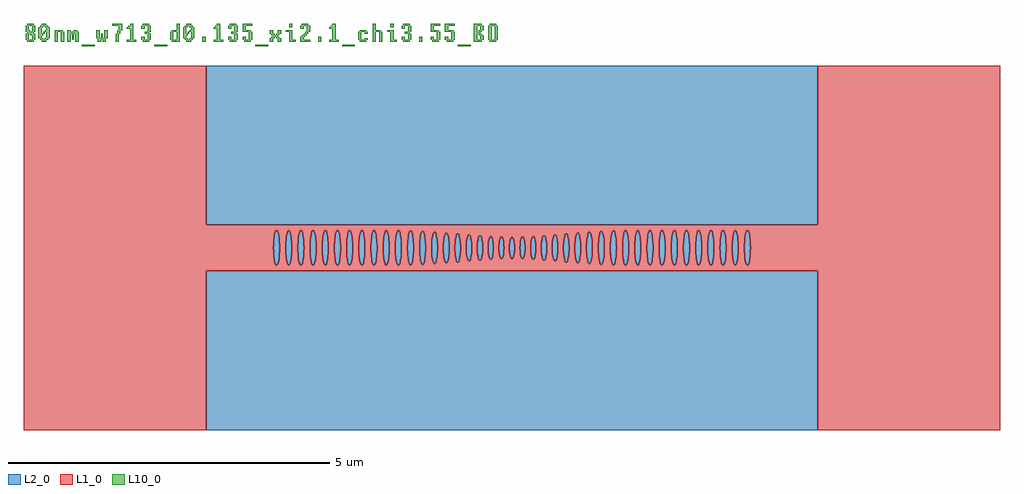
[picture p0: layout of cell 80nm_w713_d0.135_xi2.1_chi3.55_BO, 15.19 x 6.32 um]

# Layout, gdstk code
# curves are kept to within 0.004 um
import gdstk
lib = gdstk.Library(unit=1e-6, precision=1e-09)
def R(c, l, rs):  # rectangles x0, y0, x1, y1
    for r in rs: c.add(gdstk.rectangle(r[:2], r[2:], *l))
def P(c, l, *ps):  # polygons
    for p in ps: c.add(gdstk.Polygon(p, *l))
L1_0 = (1, 0)
L2_0 = (2, 0)
L10_0 = (10, 0)

c_80nm_w713_d0_135_xi2_1_c = lib.new_cell('80nm_w713_d0.135_xi2.1_chi3.55_BO')
P(c_80nm_w713_d0_135_xi2_1_c, L1_0, [(-4.758,-2.835),(-4.758,-0.357),(-2.863,-0.357),(-2.863,-0.13),(-2.886,-0.25),(-2.901,-0.272),(-2.917,-0.264),(-2.931,-0.228),(-2.943,-0.168),(-2.953,0),(-2.943,0.168),(-2.931,0.228),(-2.917,0.264),(-2.901,0.272),(-2.886,0.25),(-2.863,0.13),(-2.863,0.357),(-4.758,0.357),(-4.758,2.835),(-7.593,2.835),(-7.593,0),(-3.711,0),(-3.696,0.201),(-3.675,0.264),(-3.659,0.272),(-3.644,0.25),(-3.625,0.168),(-3.616,-0.045),(-3.521,-0.045),(-3.516,0.13),(-3.5,0.228),(-3.485,0.264),(-3.47,0.272),(-3.447,0.228),(-3.428,0.089),(-3.426,0),(-3.332,0),(-3.326,0.13),(-3.316,0.201),(-3.296,0.264),(-3.28,0.272),(-3.265,0.25),(-3.246,0.168),(-3.237,-0.045),(-3.142,-0.045),(-3.137,0.13),(-3.121,0.228),(-3.098,0.272),(-3.091,0.272),(-3.075,0.25),(-3.052,0.13),(-3.047,-0.045),(-3.062,-0.201),(-3.075,-0.25),(-3.091,-0.272),(-3.106,-0.264),(-3.121,-0.228),(-3.137,-0.13),(-3.142,-0.045),(-3.237,-0.045),(-3.246,-0.168),(-3.258,-0.228),(-3.28,-0.272),(-3.296,-0.264),(-3.31,-0.228),(-3.322,-0.168),(-3.332,0),(-3.426,0),(-3.428,-0.089),(-3.441,-0.201),(-3.454,-0.25),(-3.47,-0.272),(-3.485,-0.264),(-3.5,-0.228),(-3.516,-0.13),(-3.521,-0.045),(-3.616,-0.045),(-3.625,-0.168),(-3.637,-0.228),(-3.659,-0.272),(-3.675,-0.264),(-3.689,-0.228),(-3.701,-0.168),(-3.711,0),(-7.593,0),(-7.593,-2.835)],
  [(-2.355,0.25),(-2.34,0.272),(-2.332,0.272),(-2.31,0.228),(-2.294,0.13),(-2.289,-0.045),(-2.194,-0.045),(-2.192,0.089),(-2.179,0.201),(-2.158,0.264),(-2.151,0.272),(-2.135,0.264),(-2.114,0.201),(-2.101,0.089),(-2.101,-0.089),(-2.114,-0.201),(-2.127,-0.25),(-2.143,-0.272),(-2.151,-0.272),(-2.166,-0.25),(-2.179,-0.201),(-2.194,-0.045),(-2.289,-0.045),(-2.298,-0.168),(-2.31,-0.228),(-2.324,-0.264),(-2.332,-0.272),(-2.348,-0.264),(-2.369,-0.201),(-2.369,-0.357),(-1.919,-0.357),(-1.919,-0.168),(-1.931,-0.228),(-1.945,-0.264),(-1.953,-0.272),(-1.969,-0.264),(-1.983,-0.228),(-1.995,-0.168),(-2.005,0),(-1.995,0.168),(-1.983,0.228),(-1.969,0.264),(-1.961,0.272),(-1.945,0.264),(-1.931,0.228),(-1.919,0.168),(-1.919,0.357),(-2.369,0.357),(-2.369,0.201)],
  [(-1.067,0.063),(-1.048,0.197),(-1.041,0.217),(-1.025,0.236),(-1.009,0.225),(-1.001,0.208),(-0.983,0.121),(-0.983,0.357),(-1.919,0.357),(-1.919,0.168),(-1.91,-0.045),(-1.815,-0.045),(-1.813,0.089),(-1.805,0.168),(-1.794,0.228),(-1.772,0.272),(-1.764,0.272),(-1.748,0.25),(-1.735,0.201),(-1.722,0.089),(-1.72,-0.023),(-1.626,-0.023),(-1.622,0.111),(-1.613,0.187),(-1.6,0.241),(-1.584,0.268),(-1.576,0.27),(-1.553,0.23),(-1.541,0.17),(-1.531,-0.022),(-1.438,-0.022),(-1.434,0.108),(-1.425,0.181),(-1.412,0.234),(-1.396,0.26),(-1.388,0.262),(-1.373,0.243),(-1.359,0.197),(-1.349,0.128),(-1.343,0),(-1.252,0),(-1.241,0.161),(-1.221,0.235),(-1.205,0.25),(-1.189,0.235),(-1.169,0.161),(-1.158,0),(-1.169,-0.161),(-1.189,-0.235),(-1.205,-0.25),(-1.221,-0.235),(-1.241,-0.161),(-1.252,0),(-1.343,0),(-1.349,-0.128),(-1.359,-0.197),(-1.373,-0.243),(-1.388,-0.262),(-1.404,-0.25),(-1.419,-0.211),(-1.434,-0.108),(-1.438,-0.022),(-1.531,-0.022),(-1.541,-0.17),(-1.553,-0.23),(-1.576,-0.27),(-1.592,-0.258),(-1.607,-0.217),(-1.622,-0.111),(-1.626,-0.023),(-1.72,-0.023),(-1.725,-0.13),(-1.735,-0.201),(-1.748,-0.25),(-1.764,-0.272),(-1.779,-0.264),(-1.794,-0.228),(-1.81,-0.13),(-1.815,-0.045),(-1.91,-0.045),(-1.919,-0.168),(-1.919,-0.357),(-0.983,-0.357),(-0.983,-0.121),(-0.994,-0.185),(-1.009,-0.225),(-1.025,-0.236),(-1.041,-0.217),(-1.064,-0.103)],
  [(7.593,2.835),(4.758,2.835),(4.758,0.357),(2.86,0.357),(2.86,0.089),(2.879,0.228),(2.893,0.264),(2.909,0.272),(2.924,0.25),(2.943,0.168),(2.953,0),(3.047,0),(3.052,0.13),(3.062,0.201),(3.075,0.25),(3.091,0.272),(3.098,0.272),(3.114,0.25),(3.127,0.201),(3.137,0.13),(3.142,0),(3.236,0),(3.242,0.13),(3.252,0.201),(3.272,0.264),(3.288,0.272),(3.303,0.25),(3.322,0.168),(3.332,0),(3.426,0),(3.428,0.089),(3.441,0.201),(3.454,0.25),(3.47,0.272),(3.478,0.272),(3.493,0.25),(3.506,0.201),(3.516,0.13),(3.521,0),(3.615,0),(3.621,0.13),(3.631,0.201),(3.651,0.264),(3.667,0.272),(3.682,0.25),(3.696,0.201),(3.711,0),(7.593,0)],
  [(0.037,-0.069),(0.027,-0.126),(0.012,-0.161),(0.012,-0.357),(0.991,-0.357),(0.991,-0.171),(0.977,-0.021),(0.981,0.103),(0.991,0.171),(0.991,0.357),(0.012,0.357),(0.012,0.161),(0.032,0.099),(0.04,0),(0.124,0),(0.127,0.07),(0.137,0.128),(0.152,0.163),(0.169,0.171),(0.185,0.149),(0.197,0.101),(0.205,-0.018),(0.289,-0.018),(0.29,0.054),(0.299,0.117),(0.312,0.161),(0.328,0.18),(0.336,0.178),(0.352,0.153),(0.364,0.103),(0.37,-0.037),(0.456,-0.037),(0.456,0.037),(0.468,0.135),(0.482,0.177),(0.498,0.192),(0.514,0.177),(0.528,0.135),(0.54,0.037),(0.54,-0.02),(0.626,-0.02),(0.635,0.127),(0.647,0.178),(0.663,0.204),(0.671,0.205),(0.687,0.187),(0.701,0.142),(0.713,0),(0.799,0),(0.802,0.08),(0.817,0.176),(0.832,0.213),(0.848,0.22),(0.864,0.198),(0.877,0.149),(0.889,0),(0.877,-0.149),(0.864,-0.198),(0.848,-0.22),(0.832,-0.213),(0.817,-0.176),(0.802,-0.08),(0.799,0),(0.713,0),(0.701,-0.142),(0.687,-0.187),(0.671,-0.205),(0.655,-0.194),(0.641,-0.155),(0.63,-0.094),(0.626,-0.02),(0.54,-0.02),(0.528,-0.135),(0.514,-0.177),(0.498,-0.192),(0.49,-0.188),(0.474,-0.159),(0.456,-0.037),(0.37,-0.037),(0.364,-0.103),(0.352,-0.153),(0.344,-0.169),(0.328,-0.18),(0.305,-0.142),(0.289,-0.018),(0.205,-0.018),(0.191,-0.128),(0.185,-0.149),(0.169,-0.171),(0.152,-0.163),(0.137,-0.128),(0.127,-0.07),(0.124,0),(0.04,0)],
  [(1.912,0.089),(1.919,0.168),(1.919,0.357),(0.991,0.357),(0.991,0.171),(1.013,0.23),(1.021,0.236),(1.037,0.225),(1.051,0.185),(1.062,0.121),(1.069,0),(1.158,0),(1.169,0.161),(1.189,0.235),(1.205,0.25),(1.221,0.235),(1.241,0.161),(1.251,-0.022),(1.343,-0.022),(1.347,0.108),(1.356,0.181),(1.369,0.234),(1.384,0.26),(1.392,0.262),(1.408,0.243),(1.422,0.197),(1.435,0.087),(1.437,-0.023),(1.531,-0.023),(1.532,0.068),(1.544,0.187),(1.564,0.258),(1.58,0.27),(1.596,0.25),(1.615,0.17),(1.623,0.09),(1.625,-0.045),(1.72,-0.045),(1.722,0.089),(1.73,0.168),(1.748,0.25),(1.764,0.272),(1.779,0.264),(1.794,0.228),(1.81,0.13),(1.815,0.045),(1.813,-0.089),(1.805,-0.168),(1.794,-0.228),(1.772,-0.272),(1.756,-0.264),(1.741,-0.228),(1.725,-0.13),(1.72,-0.045),(1.625,-0.045),(1.61,-0.203),(1.596,-0.25),(1.58,-0.27),(1.564,-0.258),(1.544,-0.187),(1.531,-0.023),(1.437,-0.023),(1.432,-0.128),(1.422,-0.197),(1.408,-0.243),(1.392,-0.262),(1.377,-0.25),(1.362,-0.211),(1.347,-0.108),(1.343,-0.022),(1.251,-0.022),(1.249,-0.086),(1.235,-0.192),(1.221,-0.235),(1.205,-0.25),(1.189,-0.235),(1.169,-0.161),(1.158,0),(1.069,0),(1.062,-0.121),(1.051,-0.185),(1.037,-0.225),(1.021,-0.236),(1.013,-0.23),(0.991,-0.171),(0.991,-0.357),(1.919,-0.357),(1.919,-0.168),(1.909,0)],
  [(2.86,0.089),(2.86,0.357),(1.919,0.357),(1.919,0.168),(1.931,0.228),(1.945,0.264),(1.953,0.272),(1.969,0.264),(1.983,0.228),(1.995,0.168),(2.005,0),(2.099,0),(2.101,0.089),(2.114,0.201),(2.127,0.25),(2.143,0.272),(2.151,0.272),(2.166,0.25),(2.179,0.201),(2.189,0.13),(2.194,0),(2.288,0),(2.298,0.168),(2.317,0.25),(2.332,0.272),(2.348,0.264),(2.369,0.201),(2.384,0),(2.478,0),(2.493,0.201),(2.507,0.25),(2.522,0.272),(2.53,0.272),(2.545,0.25),(2.564,0.168),(2.573,-0.045),(2.668,-0.045),(2.67,0.089),(2.678,0.168),(2.689,0.228),(2.711,0.272),(2.727,0.264),(2.742,0.228),(2.753,0.168),(2.763,0.045),(2.761,-0.089),(2.753,-0.168),(2.735,-0.25),(2.719,-0.272),(2.704,-0.264),(2.689,-0.228),(2.673,-0.13),(2.668,-0.045),(2.573,-0.045),(2.564,-0.168),(2.552,-0.228),(2.53,-0.272),(2.514,-0.264),(2.5,-0.228),(2.488,-0.168),(2.478,0),(2.384,0),(2.369,-0.201),(2.355,-0.25),(2.34,-0.272),(2.324,-0.264),(2.304,-0.201),(2.294,-0.13),(2.288,0),(2.194,0),(2.189,-0.13),(2.179,-0.201),(2.166,-0.25),(2.151,-0.272),(2.143,-0.272),(2.127,-0.25),(2.114,-0.201),(2.101,-0.089),(2.099,0),(2.005,0),(1.995,-0.168),(1.983,-0.228),(1.969,-0.264),(1.961,-0.272),(1.945,-0.264),(1.931,-0.228),(1.919,-0.168),(1.919,-0.357),(2.86,-0.357)],
  [(-2.381,0.089),(-2.369,0.201),(-2.369,0.357),(-2.863,0.357),(-2.858,-0.045),(-2.763,-0.045),(-2.761,0.089),(-2.753,0.168),(-2.735,0.25),(-2.719,0.272),(-2.711,0.272),(-2.696,0.25),(-2.683,0.201),(-2.673,0.13),(-2.668,0),(-2.574,0),(-2.568,0.13),(-2.552,0.228),(-2.53,0.272),(-2.514,0.264),(-2.5,0.228),(-2.488,0.168),(-2.478,0),(-2.493,-0.201),(-2.507,-0.25),(-2.522,-0.272),(-2.538,-0.264),(-2.558,-0.201),(-2.568,-0.13),(-2.574,0),(-2.668,0),(-2.673,-0.13),(-2.683,-0.201),(-2.696,-0.25),(-2.711,-0.272),(-2.727,-0.264),(-2.742,-0.228),(-2.753,-0.168),(-2.763,-0.045),(-2.858,-0.045),(-2.863,-0.357),(-2.369,-0.357),(-2.369,-0.201),(-2.383,-0.045)],
  [(2.947,-0.13),(2.924,-0.25),(2.909,-0.272),(2.901,-0.272),(2.879,-0.228),(2.86,-0.089),(2.86,-0.357),(4.758,-0.357),(4.758,-2.835),(7.593,-2.835),(7.593,0),(3.711,0),(3.696,-0.201),(3.682,-0.25),(3.667,-0.272),(3.651,-0.264),(3.631,-0.201),(3.621,-0.13),(3.615,0),(3.521,0),(3.516,-0.13),(3.506,-0.201),(3.493,-0.25),(3.478,-0.272),(3.47,-0.272),(3.454,-0.25),(3.441,-0.201),(3.428,-0.089),(3.426,0),(3.332,0),(3.322,-0.168),(3.303,-0.25),(3.288,-0.272),(3.272,-0.264),(3.252,-0.201),(3.242,-0.13),(3.236,0),(3.142,0),(3.137,-0.13),(3.127,-0.201),(3.114,-0.25),(3.098,-0.272),(3.091,-0.272),(3.075,-0.25),(3.062,-0.201),(3.052,-0.13),(3.047,0),(2.953,0)],
  [(-0.98,-0.083),(-0.983,-0.357),(-0.49,-0.357),(-0.49,-0.188),(-0.506,-0.188),(-0.522,-0.159),(-0.54,-0.037),(-0.54,0.037),(-0.528,0.135),(-0.514,0.177),(-0.498,0.192),(-0.49,0.188),(-0.49,0.357),(-0.983,0.357),(-0.977,0),(-0.889,0),(-0.877,0.149),(-0.864,0.198),(-0.848,0.22),(-0.832,0.213),(-0.824,0.198),(-0.811,0.149),(-0.802,0.08),(-0.799,-0.02),(-0.713,-0.02),(-0.704,0.127),(-0.691,0.178),(-0.675,0.204),(-0.659,0.2),(-0.644,0.168),(-0.632,0.111),(-0.626,0.039),(-0.632,-0.111),(-0.651,-0.187),(-0.667,-0.205),(-0.684,-0.194),(-0.698,-0.155),(-0.713,-0.02),(-0.799,-0.02),(-0.811,-0.149),(-0.824,-0.198),(-0.84,-0.22),(-0.856,-0.213),(-0.871,-0.176),(-0.886,-0.08),(-0.889,0),(-0.977,0)],
  [(-0.459,-0.073),(-0.474,-0.159),(-0.49,-0.188),(-0.49,-0.357),(0.012,-0.357),(0.012,-0.161),(0.004,-0.168),(-0.012,-0.161),(-0.027,-0.126),(-0.037,-0.069),(-0.04,0),(-0.037,0.069),(-0.027,0.126),(-0.012,0.161),(-0.004,0.168),(0.012,0.161),(0.012,0.357),(-0.49,0.357),(-0.49,0.188),(-0.474,0.159),(-0.463,0.106),(-0.456,-0.018),(-0.371,-0.018),(-0.361,0.117),(-0.348,0.161),(-0.332,0.18),(-0.316,0.169),(-0.301,0.13),(-0.289,0),(-0.205,0),(-0.197,0.101),(-0.185,0.149),(-0.169,0.171),(-0.16,0.171),(-0.144,0.149),(-0.127,0.07),(-0.127,-0.07),(-0.137,-0.128),(-0.16,-0.171),(-0.177,-0.163),(-0.191,-0.128),(-0.205,0),(-0.289,0),(-0.301,-0.13),(-0.324,-0.178),(-0.34,-0.174),(-0.355,-0.142),(-0.371,-0.018),(-0.456,-0.018)])
R(c_80nm_w713_d0_135_xi2_1_c, L2_0, [(-4.758,-2.835,4.758,-0.357), (-4.758,0.357,4.758,2.835)])
P(c_80nm_w713_d0_135_xi2_1_c, L2_0, [(-3.708,-0.089),(-3.696,-0.201),(-3.682,-0.25),(-3.667,-0.272),(-3.659,-0.272),(-3.644,-0.25),(-3.625,-0.168),(-3.615,0),(-3.621,0.13),(-3.637,0.228),(-3.659,0.272),(-3.667,0.272),(-3.682,0.25),(-3.701,0.168),(-3.71,0.045)],
  [(3.618,-0.089),(3.637,-0.228),(3.659,-0.272),(3.667,-0.272),(3.682,-0.25),(3.701,-0.168),(3.711,0),(3.705,0.13),(3.689,0.228),(3.667,0.272),(3.659,0.272),(3.644,0.25),(3.625,0.168),(3.616,0.045)],
  [(0.127,-0.07),(0.137,-0.128),(0.16,-0.171),(0.169,-0.171),(0.185,-0.149),(0.197,-0.101),(0.205,-0.018),(0.201,0.07),(0.185,0.149),(0.169,0.171),(0.16,0.171),(0.144,0.149),(0.132,0.101),(0.125,0.036)],
  [(-3.329,-0.089),(-3.31,-0.228),(-3.288,-0.272),(-3.28,-0.272),(-3.265,-0.25),(-3.246,-0.168),(-3.236,0),(-3.242,0.13),(-3.258,0.228),(-3.28,0.272),(-3.288,0.272),(-3.303,0.25),(-3.322,0.168),(-3.331,0.045)],
  [(3.239,-0.089),(3.258,-0.228),(3.28,-0.272),(3.288,-0.272),(3.303,-0.25),(3.322,-0.168),(3.332,0),(3.326,0.13),(3.31,0.228),(3.288,0.272),(3.28,0.272),(3.265,0.25),(3.246,0.168),(3.237,0.045)],
  [(-2.95,-0.089),(-2.931,-0.228),(-2.909,-0.272),(-2.901,-0.272),(-2.886,-0.25),(-2.867,-0.168),(-2.857,0),(-2.863,0.13),(-2.879,0.228),(-2.901,0.272),(-2.909,0.272),(-2.924,0.25),(-2.943,0.168),(-2.952,0.045)],
  [(2.86,-0.089),(2.879,-0.228),(2.901,-0.272),(2.909,-0.272),(2.924,-0.25),(2.943,-0.168),(2.953,0),(2.947,0.13),(2.931,0.228),(2.909,0.272),(2.901,0.272),(2.886,0.25),(2.867,0.168),(2.858,0.045)],
  [(-2.571,-0.089),(-2.552,-0.228),(-2.53,-0.272),(-2.522,-0.272),(-2.507,-0.25),(-2.488,-0.168),(-2.478,0),(-2.484,0.13),(-2.5,0.228),(-2.522,0.272),(-2.53,0.272),(-2.545,0.25),(-2.564,0.168),(-2.573,0.045)],
  [(2.481,-0.089),(2.493,-0.201),(2.507,-0.25),(2.522,-0.272),(2.53,-0.272),(2.545,-0.25),(2.564,-0.168),(2.574,0),(2.568,0.13),(2.552,0.228),(2.53,0.272),(2.522,0.272),(2.507,0.25),(2.488,0.168),(2.479,0.045)],
  [(2.381,0.089),(2.369,0.201),(2.355,0.25),(2.34,0.272),(2.332,0.272),(2.317,0.25),(2.298,0.168),(2.288,0),(2.294,-0.13),(2.31,-0.228),(2.332,-0.272),(2.34,-0.272),(2.355,-0.25),(2.374,-0.168),(2.383,-0.045)],
  [(2.192,0.089),(2.173,0.228),(2.151,0.272),(2.143,0.272),(2.127,0.25),(2.109,0.168),(2.101,0.089),(2.101,-0.089),(2.114,-0.201),(2.127,-0.25),(2.143,-0.272),(2.151,-0.272),(2.166,-0.25),(2.184,-0.168),(2.194,-0.045)],
  [(2.002,0.089),(1.983,0.228),(1.961,0.272),(1.953,0.272),(1.938,0.25),(1.919,0.168),(1.909,0),(1.915,-0.13),(1.931,-0.228),(1.953,-0.272),(1.961,-0.272),(1.976,-0.25),(1.995,-0.168),(2.004,-0.045)],
  [(-2.381,-0.089),(-2.369,-0.201),(-2.355,-0.25),(-2.34,-0.272),(-2.332,-0.272),(-2.317,-0.25),(-2.298,-0.168),(-2.288,0),(-2.294,0.13),(-2.31,0.228),(-2.332,0.272),(-2.34,0.272),(-2.355,0.25),(-2.374,0.168),(-2.383,0.045)],
  [(-2.002,-0.089),(-1.983,-0.228),(-1.961,-0.272),(-1.953,-0.272),(-1.938,-0.25),(-1.919,-0.168),(-1.909,0),(-1.915,0.13),(-1.931,0.228),(-1.953,0.272),(-1.961,0.272),(-1.976,0.25),(-1.995,0.168),(-2.004,0.045)],
  [(-1.249,-0.086),(-1.235,-0.192),(-1.213,-0.247),(-1.197,-0.247),(-1.189,-0.235),(-1.169,-0.161),(-1.158,-0.021),(-1.161,0.086),(-1.175,0.192),(-1.189,0.235),(-1.205,0.25),(-1.221,0.235),(-1.241,0.161),(-1.251,0.043)],
  [(1.161,-0.086),(1.175,-0.192),(1.197,-0.247),(1.213,-0.247),(1.221,-0.235),(1.241,-0.161),(1.251,-0.043),(1.249,0.086),(1.235,0.192),(1.221,0.235),(1.205,0.25),(1.189,0.235),(1.169,0.161),(1.159,0.043)],
  [(-0.886,-0.08),(-0.871,-0.176),(-0.856,-0.213),(-0.848,-0.22),(-0.832,-0.213),(-0.811,-0.149),(-0.799,-0.02),(-0.802,0.08),(-0.817,0.176),(-0.84,0.22),(-0.856,0.213),(-0.864,0.198),(-0.877,0.149),(-0.888,0.041)],
  [(0.802,-0.08),(0.817,-0.176),(0.832,-0.213),(0.84,-0.22),(0.856,-0.213),(0.877,-0.149),(0.888,-0.041),(0.886,0.08),(0.871,0.176),(0.848,0.22),(0.832,0.213),(0.824,0.198),(0.811,0.149),(0.8,0.041)],
  [(-0.201,-0.07),(-0.185,-0.149),(-0.169,-0.171),(-0.16,-0.171),(-0.144,-0.149),(-0.132,-0.101),(-0.125,-0.036),(-0.127,0.07),(-0.137,0.128),(-0.16,0.171),(-0.169,0.171),(-0.185,0.149),(-0.197,0.101),(-0.205,0)],
  [(0.037,0.069),(0.027,0.126),(0.004,0.168),(-0.012,0.161),(-0.02,0.146),(-0.032,0.099),(-0.039,0.035),(-0.037,-0.069),(-0.027,-0.126),(-0.004,-0.168),(0.012,-0.161),(0.02,-0.146),(0.032,-0.099),(0.039,-0.035)],
  [(0.294,-0.087),(0.305,-0.142),(0.328,-0.18),(0.336,-0.178),(0.352,-0.153),(0.364,-0.103),(0.371,0),(0.364,0.103),(0.352,0.153),(0.344,0.169),(0.328,0.18),(0.305,0.142),(0.294,0.087),(0.289,0.018)],
  [(-0.292,0.071),(-0.308,0.153),(-0.316,0.169),(-0.332,0.18),(-0.355,0.142),(-0.366,0.087),(-0.371,0.018),(-0.366,-0.087),(-0.355,-0.142),(-0.332,-0.18),(-0.324,-0.178),(-0.308,-0.153),(-0.296,-0.103),(-0.289,-0.036)],
  [(0.71,0.076),(0.695,0.168),(0.68,0.2),(0.663,0.204),(0.655,0.194),(0.635,0.127),(0.626,0.02),(0.63,-0.094),(0.647,-0.178),(0.663,-0.204),(0.68,-0.2),(0.701,-0.142),(0.712,-0.039)],
  [(-0.708,-0.094),(-0.698,-0.155),(-0.675,-0.204),(-0.659,-0.2),(-0.651,-0.187),(-0.632,-0.111),(-0.626,-0.039),(-0.632,0.111),(-0.651,0.187),(-0.667,0.205),(-0.684,0.194),(-0.704,0.127),(-0.713,0.02)],
  [(1.066,0.083),(1.051,0.185),(1.029,0.234),(1.021,0.236),(1.005,0.217),(0.986,0.139),(0.977,0.021),(0.981,-0.103),(0.997,-0.197),(1.021,-0.236),(1.037,-0.225),(1.044,-0.208),(1.062,-0.121),(1.069,0)],
  [(-0.98,0.083),(-0.994,0.185),(-1.017,0.234),(-1.025,0.236),(-1.041,0.217),(-1.06,0.139),(-1.068,0.021),(-1.064,-0.103),(-1.048,-0.197),(-1.041,-0.217),(-1.025,-0.236),(-1.009,-0.225),(-1.001,-0.208),(-0.983,-0.121),(-0.977,0)],
  [(1.347,-0.108),(1.362,-0.211),(1.377,-0.25),(1.392,-0.262),(1.408,-0.243),(1.415,-0.223),(1.432,-0.128),(1.438,0),(1.432,0.128),(1.415,0.223),(1.408,0.243),(1.392,0.262),(1.384,0.26),(1.369,0.234),(1.351,0.147),(1.343,0.022)],
  [(-1.346,0.087),(-1.359,0.197),(-1.373,0.243),(-1.388,0.262),(-1.396,0.26),(-1.412,0.234),(-1.43,0.147),(-1.438,0.022),(-1.43,-0.147),(-1.412,-0.234),(-1.396,-0.26),(-1.388,-0.262),(-1.366,-0.223),(-1.349,-0.128),(-1.343,0)],
  [(-1.533,0.09),(-1.553,0.23),(-1.576,0.27),(-1.584,0.268),(-1.6,0.241),(-1.618,0.151),(-1.626,0.023),(-1.622,-0.111),(-1.607,-0.217),(-1.592,-0.258),(-1.576,-0.27),(-1.553,-0.23),(-1.541,-0.17),(-1.531,-0.046)],
  [(1.535,-0.111),(1.55,-0.217),(1.564,-0.258),(1.58,-0.27),(1.603,-0.23),(1.62,-0.132),(1.626,0),(1.62,0.132),(1.603,0.23),(1.58,0.27),(1.564,0.258),(1.557,0.241),(1.539,0.151),(1.531,0.023)],
  [(0.537,0.073),(0.522,0.159),(0.514,0.177),(0.498,0.192),(0.49,0.188),(0.474,0.159),(0.463,0.106),(0.456,0.037),(0.459,-0.073),(0.474,-0.159),(0.482,-0.177),(0.498,-0.192),(0.506,-0.188),(0.522,-0.159),(0.533,-0.106),(0.54,-0.037)],
  [(-0.459,0.073),(-0.474,0.159),(-0.482,0.177),(-0.498,0.192),(-0.506,0.188),(-0.522,0.159),(-0.533,0.106),(-0.54,0.037),(-0.537,-0.073),(-0.522,-0.159),(-0.514,-0.177),(-0.498,-0.192),(-0.49,-0.188),(-0.474,-0.159),(-0.463,-0.106),(-0.456,-0.037)],
  [(-1.722,0.089),(-1.741,0.228),(-1.764,0.272),(-1.772,0.272),(-1.787,0.25),(-1.805,0.168),(-1.815,0.045),(-1.81,-0.13),(-1.794,-0.228),(-1.772,-0.272),(-1.764,-0.272),(-1.748,-0.25),(-1.73,-0.168),(-1.72,-0.045)],
  [(-2.101,0.089),(-2.114,0.201),(-2.127,0.25),(-2.143,0.272),(-2.151,0.272),(-2.166,0.25),(-2.184,0.168),(-2.194,0.045),(-2.189,-0.13),(-2.173,-0.228),(-2.151,-0.272),(-2.143,-0.272),(-2.127,-0.25),(-2.109,-0.168),(-2.101,-0.089)],
  [(1.813,0.089),(1.794,0.228),(1.772,0.272),(1.764,0.272),(1.748,0.25),(1.73,0.168),(1.72,0.045),(1.725,-0.13),(1.741,-0.228),(1.764,-0.272),(1.772,-0.272),(1.787,-0.25),(1.805,-0.168),(1.815,-0.045)],
  [(2.761,0.089),(2.742,0.228),(2.719,0.272),(2.711,0.272),(2.696,0.25),(2.678,0.168),(2.668,0.045),(2.673,-0.13),(2.689,-0.228),(2.711,-0.272),(2.719,-0.272),(2.735,-0.25),(2.753,-0.168),(2.763,-0.045)],
  [(-2.67,0.089),(-2.689,0.228),(-2.711,0.272),(-2.719,0.272),(-2.735,0.25),(-2.753,0.168),(-2.763,0.045),(-2.761,-0.089),(-2.742,-0.228),(-2.719,-0.272),(-2.711,-0.272),(-2.696,-0.25),(-2.678,-0.168),(-2.668,-0.045)],
  [(3.14,0.089),(3.121,0.228),(3.098,0.272),(3.091,0.272),(3.075,0.25),(3.057,0.168),(3.047,0.045),(3.052,-0.13),(3.068,-0.228),(3.091,-0.272),(3.098,-0.272),(3.114,-0.25),(3.132,-0.168),(3.142,-0.045)],
  [(-3.049,0.089),(-3.068,0.228),(-3.091,0.272),(-3.098,0.272),(-3.114,0.25),(-3.132,0.168),(-3.142,0.045),(-3.137,-0.13),(-3.121,-0.228),(-3.098,-0.272),(-3.091,-0.272),(-3.075,-0.25),(-3.057,-0.168),(-3.047,-0.045)],
  [(3.519,0.089),(3.5,0.228),(3.478,0.272),(3.47,0.272),(3.454,0.25),(3.436,0.168),(3.426,0.045),(3.428,-0.089),(3.447,-0.228),(3.47,-0.272),(3.478,-0.272),(3.493,-0.25),(3.511,-0.168),(3.521,-0.045)],
  [(-3.428,0.089),(-3.447,0.228),(-3.47,0.272),(-3.478,0.272),(-3.493,0.25),(-3.511,0.168),(-3.521,0.045),(-3.516,-0.13),(-3.5,-0.228),(-3.478,-0.272),(-3.47,-0.272),(-3.454,-0.25),(-3.436,-0.168),(-3.426,-0.045)])
R(c_80nm_w713_d0_135_xi2_1_c, L10_0, [(-6.693,3.135,-6.493,3.16), (-5.568,3.135,-5.368,3.16), (-3.993,3.135,-3.793,3.16), (-2.643,3.135,-2.443,3.16), (-0.843,3.135,-0.643,3.16), (-4.818,3.21,-4.768,3.285), (-3.018,3.21,-2.968,3.285), (-1.443,3.21,-1.393,3.285), (-7.293,3.335,-7.268,3.36), (-5.043,3.335,-5.018,3.36), (-3.468,3.435,-3.418,3.485), (-1.893,3.435,-1.843,3.485)])
P(c_80nm_w713_d0_135_xi2_1_c, L10_0, [(-7.418,3.335),(-7.443,3.335),(-7.443,3.36),(-7.418,3.36),(-7.418,3.46),(-7.443,3.46),(-7.443,3.485),(-7.543,3.485),(-7.543,3.46),(-7.568,3.46),(-7.568,3.385),(-7.518,3.385),(-7.518,3.46),(-7.468,3.46),(-7.468,3.36),(-7.493,3.36),(-7.493,3.385),(-7.518,3.385),(-7.568,3.385),(-7.568,3.36),(-7.543,3.36),(-7.543,3.335),(-7.568,3.335),(-7.568,3.235),(-7.518,3.235),(-7.518,3.335),(-7.493,3.335),(-7.493,3.31),(-7.468,3.31),(-7.468,3.235),(-7.518,3.235),(-7.568,3.235),(-7.543,3.235),(-7.543,3.21),(-7.443,3.21),(-7.443,3.235),(-7.418,3.235)],
  [(-7.218,3.26),(-7.193,3.26),(-7.193,3.435),(-7.218,3.435),(-7.218,3.46),(-7.243,3.46),(-7.243,3.485),(-7.318,3.485),(-7.318,3.46),(-7.343,3.46),(-7.343,3.435),(-7.368,3.435),(-7.368,3.26),(-7.318,3.26),(-7.318,3.31),(-7.293,3.31),(-7.293,3.335),(-7.318,3.335),(-7.318,3.435),(-7.293,3.435),(-7.293,3.46),(-7.268,3.46),(-7.268,3.435),(-7.243,3.435),(-7.243,3.385),(-7.268,3.385),(-7.268,3.36),(-7.243,3.36),(-7.243,3.26),(-7.268,3.26),(-7.268,3.235),(-7.293,3.235),(-7.293,3.26),(-7.318,3.26),(-7.368,3.26),(-7.343,3.26),(-7.343,3.235),(-7.318,3.235),(-7.318,3.21),(-7.243,3.21),(-7.243,3.235),(-7.218,3.235)],
  [(-7.068,3.21),(-7.068,3.36),(-7.018,3.36),(-7.018,3.21),(-6.968,3.21),(-6.968,3.36),(-6.993,3.36),(-6.993,3.385),(-7.118,3.385),(-7.118,3.21)],
  [(-6.868,3.21),(-6.868,3.335),(-6.843,3.335),(-6.843,3.235),(-6.818,3.235),(-6.818,3.335),(-6.793,3.335),(-6.793,3.21),(-6.743,3.21),(-6.743,3.36),(-6.768,3.36),(-6.768,3.385),(-6.818,3.385),(-6.818,3.36),(-6.868,3.36),(-6.868,3.385),(-6.918,3.385),(-6.918,3.21)],
  [(-6.443,3.26),(-6.443,3.21),(-6.393,3.21),(-6.393,3.235),(-6.368,3.235),(-6.368,3.21),(-6.318,3.21),(-6.318,3.26),(-6.293,3.26),(-6.293,3.385),(-6.343,3.385),(-6.343,3.26),(-6.368,3.26),(-6.368,3.335),(-6.393,3.335),(-6.393,3.26),(-6.418,3.26),(-6.418,3.385),(-6.468,3.385),(-6.468,3.26)],
  [(-6.118,3.385),(-6.143,3.385),(-6.143,3.335),(-6.168,3.335),(-6.168,3.21),(-6.118,3.21),(-6.118,3.335),(-6.093,3.335),(-6.093,3.385),(-6.068,3.385),(-6.068,3.485),(-6.218,3.485),(-6.218,3.46),(-6.118,3.46)],
  [(-5.968,3.435),(-5.993,3.435),(-5.993,3.41),(-5.943,3.41),(-5.943,3.235),(-5.993,3.235),(-5.993,3.21),(-5.843,3.21),(-5.843,3.235),(-5.893,3.235),(-5.893,3.485),(-5.943,3.485),(-5.943,3.46),(-5.968,3.46)],
  [(-5.743,3.235),(-5.743,3.21),(-5.643,3.21),(-5.643,3.235),(-5.618,3.235),(-5.618,3.335),(-5.643,3.335),(-5.643,3.36),(-5.618,3.36),(-5.618,3.46),(-5.643,3.46),(-5.643,3.485),(-5.743,3.485),(-5.743,3.46),(-5.768,3.46),(-5.768,3.41),(-5.718,3.41),(-5.718,3.46),(-5.668,3.46),(-5.668,3.36),(-5.718,3.36),(-5.718,3.335),(-5.668,3.335),(-5.668,3.235),(-5.718,3.235),(-5.718,3.285),(-5.768,3.285),(-5.768,3.235)],
  [(-5.218,3.485),(-5.218,3.385),(-5.293,3.385),(-5.293,3.36),(-5.318,3.36),(-5.318,3.235),(-5.268,3.235),(-5.268,3.36),(-5.218,3.36),(-5.218,3.235),(-5.268,3.235),(-5.318,3.235),(-5.293,3.235),(-5.293,3.21),(-5.168,3.21),(-5.168,3.485)],
  [(-4.968,3.26),(-4.943,3.26),(-4.943,3.435),(-4.968,3.435),(-4.968,3.46),(-4.993,3.46),(-4.993,3.485),(-5.068,3.485),(-5.068,3.46),(-5.093,3.46),(-5.093,3.435),(-5.118,3.435),(-5.118,3.26),(-5.068,3.26),(-5.068,3.31),(-5.043,3.31),(-5.043,3.335),(-5.068,3.335),(-5.068,3.435),(-5.043,3.435),(-5.043,3.46),(-5.018,3.46),(-5.018,3.435),(-4.993,3.435),(-4.993,3.385),(-5.018,3.385),(-5.018,3.36),(-4.993,3.36),(-4.993,3.26),(-5.018,3.26),(-5.018,3.235),(-5.043,3.235),(-5.043,3.26),(-5.068,3.26),(-5.118,3.26),(-5.093,3.26),(-5.093,3.235),(-5.068,3.235),(-5.068,3.21),(-4.993,3.21),(-4.993,3.235),(-4.968,3.235)],
  [(-4.618,3.435),(-4.643,3.435),(-4.643,3.41),(-4.593,3.41),(-4.593,3.235),(-4.643,3.235),(-4.643,3.21),(-4.493,3.21),(-4.493,3.235),(-4.543,3.235),(-4.543,3.485),(-4.593,3.485),(-4.593,3.46),(-4.618,3.46)],
  [(-4.393,3.235),(-4.393,3.21),(-4.293,3.21),(-4.293,3.235),(-4.268,3.235),(-4.268,3.335),(-4.293,3.335),(-4.293,3.36),(-4.268,3.36),(-4.268,3.46),(-4.293,3.46),(-4.293,3.485),(-4.393,3.485),(-4.393,3.46),(-4.418,3.46),(-4.418,3.41),(-4.368,3.41),(-4.368,3.46),(-4.318,3.46),(-4.318,3.36),(-4.368,3.36),(-4.368,3.335),(-4.318,3.335),(-4.318,3.235),(-4.368,3.235),(-4.368,3.285),(-4.418,3.285),(-4.418,3.235)],
  [(-4.168,3.235),(-4.168,3.21),(-4.068,3.21),(-4.068,3.235),(-4.043,3.235),(-4.043,3.36),(-4.068,3.36),(-4.068,3.385),(-4.143,3.385),(-4.143,3.46),(-4.043,3.46),(-4.043,3.485),(-4.193,3.485),(-4.193,3.36),(-4.093,3.36),(-4.093,3.235),(-4.143,3.235),(-4.143,3.285),(-4.193,3.285),(-4.193,3.235)],
  [(-3.743,3.335),(-3.743,3.31),(-3.718,3.31),(-3.718,3.285),(-3.743,3.285),(-3.743,3.26),(-3.768,3.26),(-3.768,3.21),(-3.718,3.21),(-3.718,3.26),(-3.693,3.26),(-3.693,3.285),(-3.668,3.285),(-3.668,3.26),(-3.643,3.26),(-3.643,3.21),(-3.593,3.21),(-3.593,3.26),(-3.618,3.26),(-3.618,3.285),(-3.643,3.285),(-3.643,3.31),(-3.618,3.31),(-3.618,3.335),(-3.593,3.335),(-3.593,3.385),(-3.643,3.385),(-3.643,3.335),(-3.668,3.335),(-3.668,3.31),(-3.693,3.31),(-3.693,3.335),(-3.718,3.335),(-3.718,3.385),(-3.768,3.385),(-3.768,3.335)],
  [(-3.468,3.21),(-3.368,3.21),(-3.368,3.235),(-3.418,3.235),(-3.418,3.385),(-3.518,3.385),(-3.518,3.36),(-3.468,3.36)],
  [(-3.293,3.41),(-3.243,3.41),(-3.243,3.46),(-3.193,3.46),(-3.193,3.36),(-3.218,3.36),(-3.218,3.335),(-3.243,3.335),(-3.243,3.31),(-3.268,3.31),(-3.268,3.285),(-3.293,3.285),(-3.293,3.21),(-3.143,3.21),(-3.143,3.235),(-3.243,3.235),(-3.243,3.285),(-3.218,3.285),(-3.218,3.31),(-3.193,3.31),(-3.193,3.335),(-3.168,3.335),(-3.168,3.36),(-3.143,3.36),(-3.143,3.46),(-3.168,3.46),(-3.168,3.485),(-3.268,3.485),(-3.268,3.46),(-3.293,3.46)],
  [(-2.818,3.435),(-2.843,3.435),(-2.843,3.41),(-2.793,3.41),(-2.793,3.235),(-2.843,3.235),(-2.843,3.21),(-2.693,3.21),(-2.693,3.235),(-2.743,3.235),(-2.743,3.485),(-2.793,3.485),(-2.793,3.46),(-2.818,3.46)],
  [(-2.393,3.235),(-2.368,3.235),(-2.368,3.21),(-2.268,3.21),(-2.268,3.235),(-2.243,3.235),(-2.243,3.26),(-2.293,3.26),(-2.293,3.235),(-2.343,3.235),(-2.343,3.36),(-2.293,3.36),(-2.293,3.335),(-2.243,3.335),(-2.243,3.36),(-2.268,3.36),(-2.268,3.385),(-2.368,3.385),(-2.368,3.36),(-2.393,3.36)],
  [(-2.118,3.21),(-2.118,3.36),(-2.068,3.36),(-2.068,3.21),(-2.018,3.21),(-2.018,3.36),(-2.043,3.36),(-2.043,3.385),(-2.118,3.385),(-2.118,3.485),(-2.168,3.485),(-2.168,3.21)],
  [(-1.893,3.21),(-1.793,3.21),(-1.793,3.235),(-1.843,3.235),(-1.843,3.385),(-1.943,3.385),(-1.943,3.36),(-1.893,3.36)],
  [(-1.693,3.235),(-1.693,3.21),(-1.593,3.21),(-1.593,3.235),(-1.568,3.235),(-1.568,3.335),(-1.593,3.335),(-1.593,3.36),(-1.568,3.36),(-1.568,3.46),(-1.593,3.46),(-1.593,3.485),(-1.693,3.485),(-1.693,3.46),(-1.718,3.46),(-1.718,3.41),(-1.668,3.41),(-1.668,3.46),(-1.618,3.46),(-1.618,3.36),(-1.668,3.36),(-1.668,3.335),(-1.618,3.335),(-1.618,3.235),(-1.668,3.235),(-1.668,3.285),(-1.718,3.285),(-1.718,3.235)],
  [(-1.243,3.235),(-1.243,3.21),(-1.143,3.21),(-1.143,3.235),(-1.118,3.235),(-1.118,3.36),(-1.143,3.36),(-1.143,3.385),(-1.218,3.385),(-1.218,3.46),(-1.118,3.46),(-1.118,3.485),(-1.268,3.485),(-1.268,3.36),(-1.168,3.36),(-1.168,3.235),(-1.218,3.235),(-1.218,3.285),(-1.268,3.285),(-1.268,3.235)],
  [(-1.018,3.235),(-1.018,3.21),(-0.918,3.21),(-0.918,3.235),(-0.893,3.235),(-0.893,3.36),(-0.918,3.36),(-0.918,3.385),(-0.993,3.385),(-0.993,3.46),(-0.893,3.46),(-0.893,3.485),(-1.043,3.485),(-1.043,3.36),(-0.943,3.36),(-0.943,3.235),(-0.993,3.235),(-0.993,3.285),(-1.043,3.285),(-1.043,3.235)],
  [(-0.443,3.31),(-0.468,3.31),(-0.468,3.335),(-0.493,3.335),(-0.493,3.36),(-0.468,3.36),(-0.468,3.385),(-0.443,3.385),(-0.443,3.46),(-0.468,3.46),(-0.468,3.485),(-0.593,3.485),(-0.593,3.36),(-0.543,3.36),(-0.543,3.46),(-0.493,3.46),(-0.493,3.385),(-0.518,3.385),(-0.518,3.36),(-0.543,3.36),(-0.593,3.36),(-0.593,3.235),(-0.543,3.235),(-0.543,3.335),(-0.518,3.335),(-0.518,3.31),(-0.493,3.31),(-0.493,3.235),(-0.543,3.235),(-0.593,3.235),(-0.593,3.21),(-0.468,3.21),(-0.468,3.235),(-0.443,3.235)],
  [(-0.218,3.46),(-0.243,3.46),(-0.243,3.485),(-0.343,3.485),(-0.343,3.46),(-0.368,3.46),(-0.368,3.235),(-0.318,3.235),(-0.318,3.46),(-0.268,3.46),(-0.268,3.235),(-0.318,3.235),(-0.368,3.235),(-0.343,3.235),(-0.343,3.21),(-0.243,3.21),(-0.243,3.235),(-0.218,3.235)])

lib.write_gds('80nm_w713_d0.135_xi2.1_chi3.55_BO.gds')
